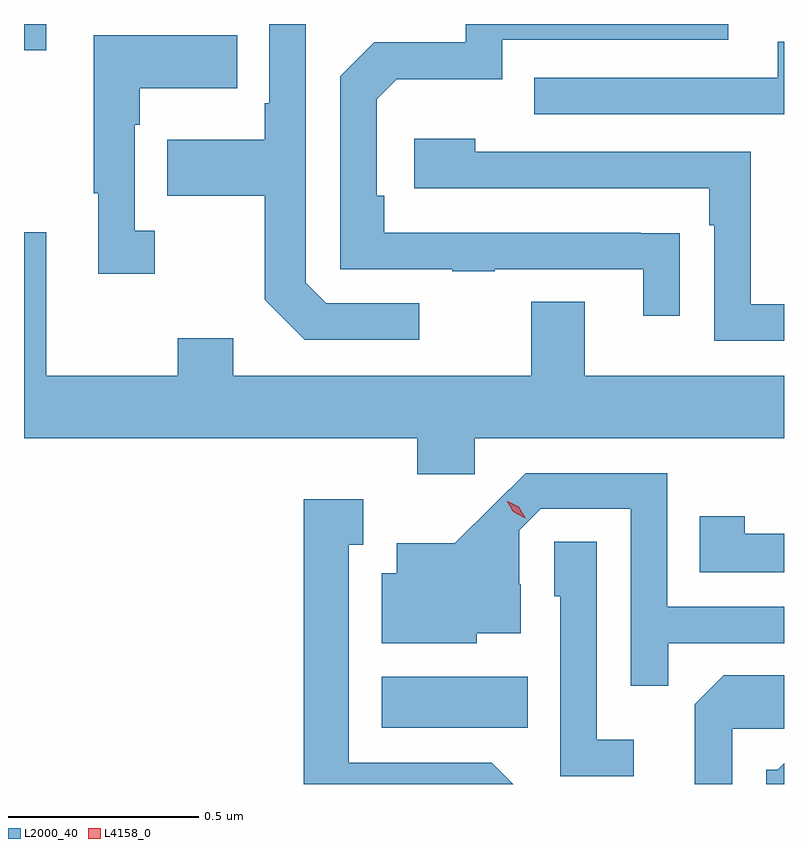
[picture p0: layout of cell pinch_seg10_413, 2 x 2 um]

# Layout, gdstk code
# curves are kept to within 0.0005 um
import gdstk
lib = gdstk.Library(unit=1e-6, precision=1e-09)
def R(c, l, rs):  # rectangles x0, y0, x1, y1
    for r in rs: c.add(gdstk.rectangle(r[:2], r[2:], *l))
def P(c, l, *ps):  # polygons
    for p in ps: c.add(gdstk.Polygon(p, *l))
L2000_40 = (2000, 40)
L4158_0 = (4158, 0)

pinch_seg10_413 = lib.new_cell('pinch_seg10_413')
R(pinch_seg10_413, L2000_40, [(616.67,1248.938,617.054,1249.072), (615.728,1250.721,615.787,1250.79)])
P(pinch_seg10_413, L2000_40, [(617.453,1250.24),(617.351,1250.24),(617.351,1250.241),(616.676,1250.241),(616.676,1250.338),(616.656,1250.338),(616.656,1250.592),(616.709,1250.645),(616.986,1250.645),(616.986,1250.748),(617.581,1250.748),(617.581,1250.79),(616.89,1250.79),(616.89,1250.742),(616.65,1250.742),(616.56,1250.652),(616.56,1250.145),(616.855,1250.145),(616.855,1250.14),(616.967,1250.14),(616.967,1250.145),(617.357,1250.145),(617.357,1250.022),(617.453,1250.022)],
  [(616.768,1250.055),(616.524,1250.055),(616.47,1250.109),(616.47,1250.79),(616.374,1250.79),(616.374,1250.581),(616.362,1250.581),(616.362,1250.485),(616.105,1250.485),(616.105,1250.338),(616.362,1250.338),(616.362,1250.065),(616.467,1249.959),(616.768,1249.959)],
  [(616.072,1250.246),(616.02,1250.246),(616.02,1250.525),(616.033,1250.525),(616.033,1250.621),(616.289,1250.621),(616.289,1250.761),(615.912,1250.761),(615.912,1250.345),(615.923,1250.345),(615.923,1250.133),(616.072,1250.133)],
  [(617.728,1250.743),(617.711,1250.743),(617.711,1250.649),(617.071,1250.649),(617.071,1250.553),(617.728,1250.553)],
  [(617.728,1250.052),(617.64,1250.052),(617.64,1250.454),(616.916,1250.454),(616.916,1250.488),(616.755,1250.488),(616.755,1250.358),(617.531,1250.358),(617.531,1250.261),(617.544,1250.261),(617.544,1249.956),(617.728,1249.956)],
  [(616.914,1249.7),(617.728,1249.7),(617.728,1249.864),(617.203,1249.864),(617.203,1250.059),(617.063,1250.059),(617.063,1249.864),(616.279,1249.864),(616.279,1249.963),(616.132,1249.963),(616.132,1249.864),(615.787,1249.864),(615.787,1250.242),(615.728,1250.242),(615.728,1249.7),(616.763,1249.7),(616.763,1249.605),(616.914,1249.605)],
  [(617.423,1249.161),(617.728,1249.161),(617.728,1249.257),(617.421,1249.257),(617.421,1249.608),(617.048,1249.608),(616.861,1249.423),(616.709,1249.423),(616.709,1249.345),(616.67,1249.345),(616.67,1249.16),(616.92,1249.16),(616.92,1249.187),(617.035,1249.187),(617.035,1249.316),(617.031,1249.316),(617.031,1249.458),(617.088,1249.515),(617.325,1249.515),(617.325,1249.048),(617.423,1249.048)],
  [(616.959,1248.846),(616.582,1248.846),(616.582,1249.419),(616.621,1249.419),(616.621,1249.54),(616.464,1249.54),(616.464,1248.79),(617.015,1248.79)],
  [(617.728,1249.448),(617.625,1249.448),(617.625,1249.495),(617.506,1249.495),(617.506,1249.347),(617.728,1249.347)],
  [(617.332,1248.907),(617.235,1248.907),(617.235,1249.427),(617.124,1249.427),(617.124,1249.284),(617.139,1249.284),(617.139,1248.81),(617.332,1248.81)],
  [(617.592,1248.936),(617.728,1248.936),(617.728,1249.076),(617.569,1249.076),(617.493,1249),(617.493,1248.79),(617.592,1248.79)],
  [(617.728,1248.844),(617.712,1248.828),(617.681,1248.828),(617.681,1248.79),(617.728,1248.79)])
P(pinch_seg10_413, L4158_0, [(617.047,1249.49),(617.016,1249.506),(616.999,1249.535),(616.999,1249.536),(616.999,1249.536),(617.03,1249.52),(617.047,1249.491),(617.047,1249.49)])

lib.write_gds('pinch_seg10_413.gds')
